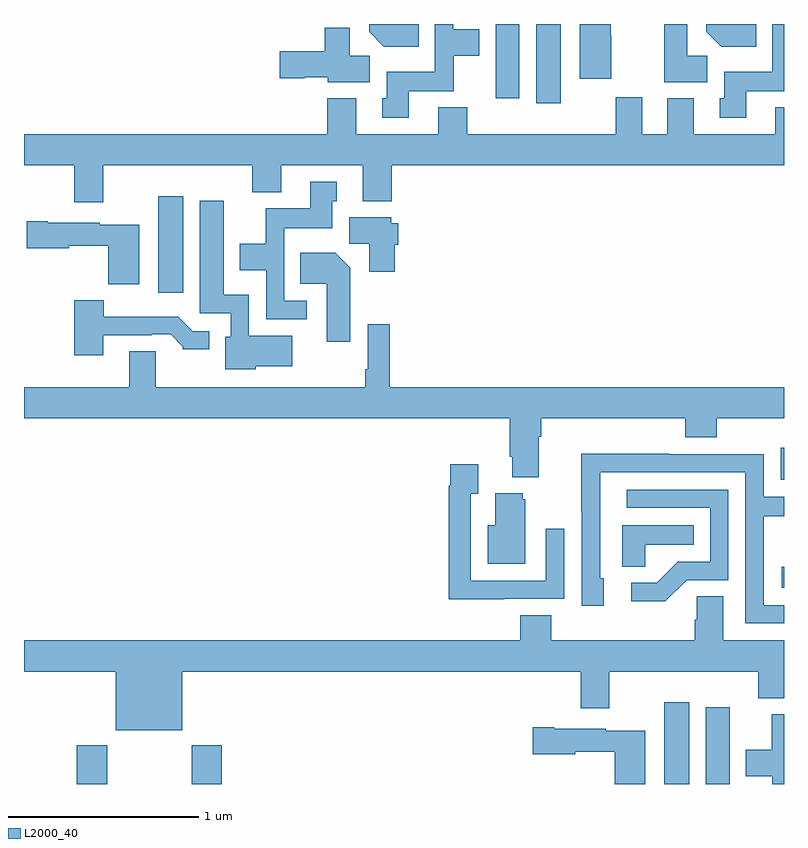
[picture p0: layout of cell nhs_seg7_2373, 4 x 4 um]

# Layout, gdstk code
import gdstk
lib = gdstk.Library(unit=1e-6, precision=1e-09)
def R(c, l, rs):  # rectangles x0, y0, x1, y1
    for r in rs: c.add(gdstk.rectangle(r[:2], r[2:], *l))
def P(c, l, *ps):  # polygons
    for p in ps: c.add(gdstk.Polygon(p, *l))
L2000_40 = (2000, 40)

nhs_seg7_2373 = lib.new_cell('nhs_seg7_2373')
R(nhs_seg7_2373, L2000_40, [(265.277,1024,265.437,1024.204), (265.882,1024,266.042,1024.204), (268.37,1024,268.501,1024.429), (268.589,1024,268.714,1024.405), (268.989,1025.033,269,1025.143), (268.983,1025.601,269,1025.77), (265.706,1026.585,265.837,1027.093), (267.695,1027.584,267.826,1028), (267.482,1027.608,267.607,1028)])
P(nhs_seg7_2373, L2000_40, [(267.025,1027.646),(267.261,1027.646),(267.261,1027.832),(267.397,1027.832),(267.397,1027.972),(267.258,1027.972),(267.258,1028),(267.162,1028),(267.162,1027.75),(266.909,1027.75),(266.909,1027.608),(266.885,1027.608),(266.885,1027.506),(267.025,1027.506)],
  [(268.09,1027.94),(268.088,1027.94),(268.088,1028),(267.926,1028),(267.926,1027.713),(268.09,1027.713)],
  [(268.853,1028),(268.592,1028),(268.592,1027.958),(268.67,1027.88),(268.853,1027.88)],
  [(268.597,1027.832),(268.492,1027.832),(268.492,1028),(268.37,1028),(268.37,1027.694),(268.597,1027.694)],
  [(268.801,1027.646),(269,1027.646),(269,1028),(268.938,1028),(268.938,1027.75),(268.685,1027.75),(268.685,1027.608),(268.661,1027.608),(268.661,1027.506),(268.801,1027.506)],
  [(267.077,1028),(266.816,1028),(266.816,1027.958),(266.894,1027.88),(267.077,1027.88)],
  [(266.821,1027.832),(266.714,1027.832),(266.714,1027.981),(266.582,1027.981),(266.582,1027.856),(266.346,1027.856),(266.346,1027.714),(266.478,1027.714),(266.478,1027.721),(266.598,1027.721),(266.598,1027.694),(266.821,1027.694)],
  [(265.417,1027.256),(266.201,1027.256),(266.201,1027.115),(266.353,1027.115),(266.353,1027.256),(266.783,1027.256),(266.783,1027.067),(266.936,1027.067),(266.936,1027.256),(269,1027.256),(269,1027.561),(268.955,1027.561),(268.955,1027.42),(268.525,1027.42),(268.525,1027.609),(268.385,1027.609),(268.385,1027.42),(268.255,1027.42),(268.255,1027.615),(268.115,1027.615),(268.115,1027.42),(267.332,1027.42),(267.332,1027.561),(267.179,1027.561),(267.179,1027.42),(266.749,1027.42),(266.749,1027.609),(266.597,1027.609),(266.597,1027.42),(265,1027.42),(265,1027.256),(265.265,1027.256),(265.265,1027.062),(265.417,1027.062)],
  [(266.488,1026.543),(266.37,1026.543),(266.37,1026.926),(266.623,1026.926),(266.623,1027.068),(266.647,1027.068),(266.647,1027.171),(266.507,1027.171),(266.507,1027.03),(266.272,1027.03),(266.272,1026.844),(266.135,1026.844),(266.135,1026.704),(266.274,1026.704),(266.274,1026.447),(266.488,1026.447)],
  [(266.22,1026.2),(266.413,1026.2),(266.413,1026.358),(266.184,1026.358),(266.184,1026.574),(266.05,1026.574),(266.05,1027.069),(265.925,1027.069),(265.925,1026.477),(266.088,1026.477),(266.088,1026.354),(266.06,1026.354),(266.06,1026.182),(266.22,1026.182)],
  [(266.951,1026.837),(266.969,1026.837),(266.969,1026.951),(266.934,1026.951),(266.934,1026.982),(266.711,1026.982),(266.711,1026.844),(266.816,1026.844),(266.816,1026.696),(266.951,1026.696)],
  [(265.606,1026.943),(265.398,1026.943),(265.398,1026.955),(265.126,1026.955),(265.126,1026.963),(265.014,1026.963),(265.014,1026.821),(265.236,1026.821),(265.236,1026.833),(265.444,1026.833),(265.444,1026.629),(265.606,1026.629)],
  [(266.716,1026.718),(266.638,1026.796),(266.455,1026.796),(266.455,1026.632),(266.594,1026.632),(266.594,1026.327),(266.716,1026.327)],
  [(265.417,1026.363),(265.673,1026.363),(265.673,1026.366),(265.772,1026.366),(265.836,1026.302),(265.836,1026.287),(265.975,1026.287),(265.975,1026.384),(265.887,1026.384),(265.811,1026.46),(265.42,1026.46),(265.42,1026.547),(265.265,1026.547),(265.265,1026.257),(265.417,1026.257)],
  [(267.709,1025.828),(267.722,1025.828),(267.722,1025.924),(268.481,1025.924),(268.481,1025.825),(268.646,1025.825),(268.646,1025.924),(269,1025.924),(269,1026.088),(266.924,1026.088),(266.924,1026.421),(266.808,1026.421),(266.808,1026.184),(266.796,1026.184),(266.796,1026.088),(265.693,1026.088),(265.693,1026.278),(265.553,1026.278),(265.553,1026.088),(265,1026.088),(265,1025.924),(267.557,1025.924),(267.557,1025.722),(267.569,1025.722),(267.569,1025.615),(267.709,1025.615)],
  [(269,1024.941),(268.893,1024.941),(268.893,1025.41),(269,1025.41),(269,1025.511),(268.893,1025.511),(268.893,1025.736),(268.397,1025.736),(268.397,1025.738),(267.934,1025.738),(267.934,1025.431),(267.936,1025.431),(267.936,1024.938),(268.051,1024.938),(268.051,1025.082),(268.032,1025.082),(268.032,1025.64),(268.797,1025.64),(268.797,1024.845),(269,1024.845)],
  [(267.527,1024.974),(267.843,1024.974),(267.843,1025.344),(267.747,1025.344),(267.747,1025.07),(267.351,1025.07),(267.351,1025.527),(267.391,1025.527),(267.391,1025.683),(267.243,1025.683),(267.243,1025.57),(267.235,1025.57),(267.235,1024.973),(267.527,1024.973)],
  [(268.488,1025.073),(268.707,1025.073),(268.707,1025.55),(268.173,1025.55),(268.173,1025.454),(268.611,1025.454),(268.611,1025.169),(268.442,1025.169),(268.331,1025.058),(268.197,1025.058),(268.197,1024.961),(268.375,1024.961)],
  [(267.637,1025.499),(267.626,1025.499),(267.626,1025.53),(267.479,1025.53),(267.479,1025.362),(267.44,1025.362),(267.44,1025.159),(267.637,1025.159)],
  [(268.269,1025.258),(268.526,1025.258),(268.526,1025.362),(268.148,1025.362),(268.148,1025.143),(268.269,1025.143)],
  [(265.834,1024.592),(267.929,1024.592),(267.929,1024.398),(268.081,1024.398),(268.081,1024.592),(268.865,1024.592),(268.865,1024.451),(269,1024.451),(269,1024.756),(268.681,1024.756),(268.681,1024.988),(268.542,1024.988),(268.542,1024.865),(268.529,1024.865),(268.529,1024.756),(267.776,1024.756),(267.776,1024.889),(267.611,1024.889),(267.611,1024.756),(265,1024.756),(265,1024.592),(265.484,1024.592),(265.484,1024.283),(265.834,1024.283)],
  [(269,1024.366),(268.936,1024.366),(268.936,1024.18),(268.799,1024.18),(268.799,1024.04),(268.938,1024.04),(268.938,1024),(269,1024)],
  [(268.27,1024.279),(268.062,1024.279),(268.062,1024.291),(267.79,1024.291),(267.79,1024.299),(267.678,1024.299),(267.678,1024.157),(267.9,1024.157),(267.9,1024.169),(268.108,1024.169),(268.108,1024),(268.27,1024)])

lib.write_gds('nhs_seg7_2373.gds')
